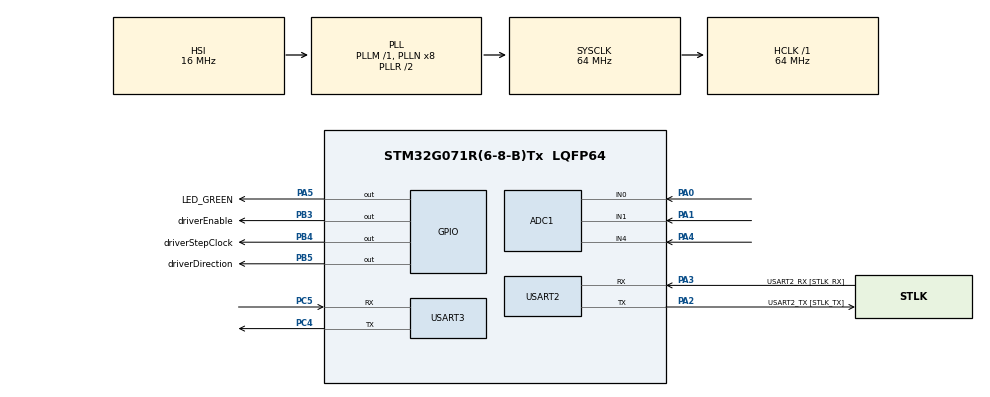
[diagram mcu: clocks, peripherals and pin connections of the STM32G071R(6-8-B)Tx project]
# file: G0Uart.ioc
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ADC1.Channel-0\#ChannelRegularConversion=ADC_CHANNEL_0
ADC1.Channel-1\#ChannelRegularConversion=ADC_CHANNEL_1
ADC1.Channel-2\#ChannelRegularConversion=ADC_CHANNEL_4
ADC1.ClockPrescaler=ADC_CLOCK_ASYNC_DIV1
ADC1.ContinuousConvMode=DISABLE
ADC1.DMAContinuousRequests=ENABLE
ADC1.EOCSelection=ADC_EOC_SEQ_CONV
ADC1.ExternalTrigConv=ADC_EXTERNALTRIG_T2_TRGO
ADC1.ExternalTrigConvEdge=ADC_EXTERNALTRIGCONVEDGE_RISINGFALLING
ADC1.NbrOfConversion=3
ADC1.NbrOfConversionFlag=1
ADC1.Rank-0\#ChannelRegularConversion=1
ADC1.Rank-1\#ChannelRegularConversion=2
ADC1.Rank-2\#ChannelRegularConversion=3
ADC1.SamplingTime-0\#ChannelRegularConversion=ADC_SAMPLINGTIME_COMMON_1
ADC1.SamplingTime-1\#ChannelRegularConversion=ADC_SAMPLINGTIME_COMMON_1
ADC1.SamplingTime-2\#ChannelRegularConversion=ADC_SAMPLINGTIME_COMMON_1
ADC1.SelectedChannel=ADC_CHANNEL_0|ADC_CHANNEL_1|ADC_CHANNEL_4
ADC1.master=1
Dma.ADC1.0.Direction=DMA_PERIPH_TO_MEMORY
Dma.ADC1.0.EventEnable=DISABLE
Dma.ADC1.0.Instance=DMA1_Channel1
Dma.ADC1.0.MemDataAlignment=DMA_MDATAALIGN_HALFWORD
Dma.ADC1.0.MemInc=DMA_MINC_ENABLE
Dma.ADC1.0.Mode=DMA_CIRCULAR
Dma.ADC1.0.PeriphDataAlignment=DMA_PDATAALIGN_HALFWORD
Dma.ADC1.0.PeriphInc=DMA_PINC_DISABLE
Dma.ADC1.0.Polarity=HAL_DMAMUX_REQ_GEN_RISING
Dma.ADC1.0.Priority=DMA_PRIORITY_LOW
Dma.ADC1.0.RequestNumber=1
Dma.ADC1.0.SignalID=NONE
Dma.ADC1.0.SyncEnable=ENABLE
Dma.ADC1.0.SyncPolarity=HAL_DMAMUX_SYNC_RISING
Dma.ADC1.0.SyncRequestNumber=1
Dma.ADC1.0.SyncSignalID=NONE
Dma.Request0=ADC1
Dma.Request1=USART3_RX
Dma.USART3_RX.1.Direction=DMA_PERIPH_TO_MEMORY
Dma.USART3_RX.1.EventEnable=DISABLE
Dma.USART3_RX.1.Instance=DMA1_Channel2
Dma.USART3_RX.1.MemDataAlignment=DMA_MDATAALIGN_BYTE
Dma.USART3_RX.1.MemInc=DMA_MINC_ENABLE
Dma.USART3_RX.1.Mode=DMA_NORMAL
Dma.USART3_RX.1.PeriphDataAlignment=DMA_PDATAALIGN_BYTE
Dma.USART3_RX.1.PeriphInc=DMA_PINC_DISABLE
Dma.USART3_RX.1.Polarity=HAL_DMAMUX_REQ_GEN_RISING
Dma.USART3_RX.1.Priority=DMA_PRIORITY_LOW
Dma.USART3_RX.1.RequestNumber=1
Dma.USART3_RX.1.SignalID=NONE
Dma.USART3_RX.1.SyncEnable=DISABLE
Dma.USART3_RX.1.SyncPolarity=HAL_DMAMUX_SYNC_NO_EVENT
Dma.USART3_RX.1.SyncRequestNumber=1
Dma.USART3_RX.1.SyncSignalID=NONE
Mcu.Family=STM32G0
Mcu.Name=STM32G071R(6-8-B)Tx
Mcu.Package=LQFP64
NVIC.ADC1_COMP_IRQn=true\:0\:0\:false\:false\:true\:true\:true\:true
NVIC.DMA1_Ch4_7_DMAMUX1_OVR_IRQn=true\:0\:0\:false\:false\:true\:false\:true\:true
NVIC.DMA1_Channel1_IRQn=true\:0\:0\:false\:false\:true\:false\:true\:true
NVIC.DMA1_Channel2_3_IRQn=true\:0\:0\:false\:false\:true\:false\:true\:true
NVIC.TIM1_BRK_UP_TRG_COM_IRQn=true\:0\:0\:false\:false\:true\:true\:true\:true
NVIC.TIM2_IRQn=true\:0\:0\:false\:false\:true\:true\:true\:true
NVIC.USART3_4_LPUART1_IRQn=true\:0\:0\:false\:false\:true\:true\:true\:true
PA0.Mode=IN0
PA0.Signal=ADC1_IN0
PA1.Mode=IN1
PA1.Signal=ADC1_IN1
PA13.GPIO_Label=TMS
PA13.Mode=Serial_Wire
PA13.Signal=SYS_SWDIO
PA14-BOOT0.GPIO_Label=TCK
PA14-BOOT0.Mode=Serial_Wire
PA14-BOOT0.Signal=SYS_SWCLK
PA2.GPIO_Label=USART2_TX [STLK_TX]
PA2.GPIO_PuPd=GPIO_PULLUP
PA2.Mode=Asynchronous
PA2.Signal=USART2_TX
PA3.GPIO_Label=USART2_RX [STLK_RX]
PA3.GPIO_PuPd=GPIO_PULLUP
PA3.Mode=Asynchronous
PA3.Signal=USART2_RX
PA4.Mode=IN4
PA4.Signal=ADC1_IN4
PA5.GPIO_Label=LED_GREEN
PA5.GPIO_Speed=GPIO_SPEED_FREQ_HIGH
PA5.Signal=GPIO_Output
PB3.GPIO_Label=driverEnable
PB3.Signal=GPIO_Output
PB4.GPIO_Label=driverStepClock
PB4.Signal=GPIO_Output
PB5.GPIO_Label=driverDirection
PB5.Signal=GPIO_Output
PC13.Mode=SYS_WakeUp1
PC13.Signal=SYS_WKUP2
PC14-OSC32_IN\ (PC14).Signal=RCC_OSC32_IN
PC15-OSC32_OUT\ (PC15).Signal=RCC_OSC32_OUT
PC4.Mode=Asynchronous
PC4.Signal=USART3_TX
PC5.Mode=Asynchronous
PC5.Signal=USART3_RX
PF0-OSC_IN\ (PF0).GPIO_Label=MCO
PF0-OSC_IN\ (PF0).Signal=RCC_OSC_IN
ProjectManager.HeapSize=0x200
ProjectManager.StackSize=0x400
ProjectManager.TargetToolchain=STM32CubeIDE
RCC.ADCFreq_Value=64000000
RCC.AHBFreq_Value=64000000
RCC.CortexFreq_Value=64000000
RCC.EXTERNAL_CLOCK_VALUE=12288000
RCC.HCLKFreq_Value=64000000
RCC.HSE_VALUE=8000000
RCC.HSI_VALUE=16000000
RCC.SYSCLKFreq_VALUE=64000000
RCC.SYSCLKSource=RCC_SYSCLKSOURCE_PLLCLK
RCC.VCOOutputFreq_Value=128000000
TIM1.Period=1000-1
TIM1.Prescaler=64-1
TIM2.Period=30-1
TIM2.Prescaler=64-1
TIM2.TIM_MasterOutputTrigger=TIM_TRGO_UPDATE
USART2.VirtualMode-Asynchronous=VM_ASYNC
USART3.VirtualMode-Asynchronous=VM_ASYNC
VP_TIM1_VS_ClockSourceINT.Mode=Internal
VP_TIM2_VS_ClockSourceINT.Mode=Internal
board=NUCLEO-G071RB

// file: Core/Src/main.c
/* USER CODE BEGIN Header */
/**
 ******************************************************************************
 * @file           : main.c
 * @brief          : Main program body
 ******************************************************************************
 * @attention
 *
 * Copyright (c) 2023 STMicroelectronics.
 * All rights reserved.
 *
 * This software is licensed under terms that can be found in the LICENSE file
 * in the root directory of this software component.
 * If no LICENSE file comes with this software, it is provided AS-IS.
 *
 ******************************************************************************
 */
/* USER CODE END Header */
#include "main.h"

/* USER CODE BEGIN Includes */
#include <string.h>
#include "stdbool.h"
/* USER CODE END Includes */

/* USER CODE BEGIN PD */
char RxBuf[10];
uint8_t tempBuf[10];
bool okflag = false;
char speed, test, turn;
uint16_t noTurns;
uint32_t combine;

// ADC Variable START
uint32_t avg = 0, adc_val, sum = 0;
int top_val[100];

#define Buflen 3
uint16_t dmaBuffer[Buflen];
// ADC Variable END

// Merge file START

volatile uint8_t timerCount = 0;
volatile bool timerFlag = false;
volatile uint16_t motorStepCount = 0;
volatile uint16_t motorRotateCount = 0;
volatile uint16_t noOfTurn = 10;
volatile uint16_t noSteptoGive = 8000;
uint16_t x = 0;
volatile uint32_t adcResult[3];
// Merge file END

uint16_t timBuffer[Buflen];

/* USER CODE END PD */

ADC_HandleTypeDef hadc1;
DMA_HandleTypeDef hdma_adc1;

TIM_HandleTypeDef htim1;
TIM_HandleTypeDef htim2;

UART_HandleTypeDef huart2;
UART_HandleTypeDef huart3;
DMA_HandleTypeDef hdma_usart3_rx;

void SystemClock_Config(void);
static void MX_GPIO_Init(void);
static void MX_DMA_Init(void);
static void MX_ADC1_Init(void);
static void MX_TIM2_Init(void);
static void MX_USART2_UART_Init(void);
static void MX_USART3_UART_Init(void);
static void MX_TIM1_Init(void);
/* USER CODE BEGIN PFP */
uint8_t count = 0;

/* USER CODE END PFP */

/* USER CODE BEGIN 0 */
void HAL_UART_RxCpltCallback(UART_HandleTypeDef *huart){
	UNUSED(huart);
	okflag = true;

}

void updateVal(int *top_val, int adc_val)
{
  for (uint8_t counter = 1; counter < 100; counter++)
  {
    top_val[counter - 1] = top_val[counter];
  }
  top_val[99] = adc_val;
}
int averageVal(int *top_val)
{
  sum = 0;
  for (int i = 0; i < 100; i++)
  {
    sum += top_val[i];
  }
  return sum / 100;
}

void HAL_ADC_ConvCpltCallback(ADC_HandleTypeDef *hadc)
{
  HAL_ADC_Start_DMA(&hadc1, (uint32_t *)dmaBuffer, Buflen);
}

/* USER CODE END 0 */

int main(void)
{

  /* MCU Configuration--------------------------------------------------------*/

  /* Reset of all peripherals, Initializes the Flash interface and the Systick. */
  HAL_Init();

  /* Configure the system clock */
  SystemClock_Config();

  /* Initialize all configured peripherals */
  MX_GPIO_Init();
  MX_DMA_Init();
  MX_ADC1_Init();
  MX_TIM2_Init();
  MX_USART2_UART_Init();
  MX_USART3_UART_Init();
  MX_TIM1_Init();
  /* USER CODE BEGIN 2 */

   HAL_UART_Receive_DMA(&huart3,(uint8_t* )RxBuf,10);

  // HAL_ADCEx_Calibration_Start(&hadc1);

  // HAL_TIM_Base_Start(&htim2);
  /* USER CODE END 2 */

  /* Infinite loop */
  /* USER CODE BEGIN WHILE */
  while (1){
    //	  adc_val = HAL_ADC_GetValue(&hadc1);
    //	      updateVal(top_val,adc_val);
    //	      avg = averageVal(top_val);

    /* USER CODE END WHILE */

    /* USER CODE BEGIN 3 */
    //	  count = 38;
    //	  HAL_UART_Transmit(&huart3, (uint8_t *)&count, 1, 10);
    //	  HAL_Delay(1000);
    if (okflag == true)
    {
      int i = 9;
      okflag = false;
      while (i--)
      {
        tempBuf[i] = RxBuf[i];
      }
      speed = RxBuf[0];
      test = RxBuf[2];
      turn = RxBuf[4];

      noTurns = 100 * (int)(RxBuf[6]-48) + 10 * (int)(RxBuf[7]-48) + (int)(RxBuf[8]-48);
      HAL_TIM_Base_Start_IT(&htim1);
      HAL_GPIO_WritePin(driverDirection_GPIO_Port, driverDirection_Pin, GPIO_PIN_SET);
      HAL_GPIO_WritePin(driverEnable_GPIO_Port, driverEnable_Pin, GPIO_PIN_SET);

      HAL_UART_Receive_DMA(&huart3, (uint8_t *)RxBuf, 10);
    }

    if (timerFlag)
    {
      timerFlag = false;
      timerCount += 1;
      switch (timerCount)
      {
      case 1:

        HAL_GPIO_WritePin(driverStepClock_GPIO_Port, driverStepClock_Pin, GPIO_PIN_SET);
        motorStepCount += 1;
        break;
      case 12:
        HAL_GPIO_WritePin(driverStepClock_GPIO_Port, driverStepClock_Pin, GPIO_PIN_RESET);
        if (motorStepCount == noSteptoGive)
        {
          motorStepCount = 0;
          HAL_GPIO_TogglePin(driverDirection_GPIO_Port, driverDirection_Pin);
        }
        // write logic for ADC Start and its timer (on ADCwithdma and timer for its trigger)

        // ADC Logic START
        HAL_TIM_Base_Start(&htim2);
          HAL_ADC_Start_DMA(&hadc1, (uint32_t *)dmaBuffer, Buflen);
        // ADC Logic END

        break;
      case 24:
        break;

        // write logic for ADC stop and its timer (on ADCwithdma and timer for its trigger)

        // ADC Logic Stop START
        HAL_TIM_Base_Stop(&htim2);
        HAL_ADC_Stop_DMA(&hadc1);
        // ADC Logic Stop END

        // transmit data from here

        // Data Transmit START

        // Data Transmit END

      case 36:
        timerCount = 0;
        if (motorRotateCount == 2 * noSteptoGive)
        {
          HAL_TIM_Base_Stop_IT(&htim1);
          HAL_GPIO_WritePin(driverEnable_GPIO_Port, driverEnable_Pin, GPIO_PIN_RESET);
        }
        break;
      }
    }
  }
  /* USER CODE END 3 */
}

void SystemClock_Config(void)
{
  RCC_OscInitTypeDef RCC_OscInitStruct = {0};
  RCC_ClkInitTypeDef RCC_ClkInitStruct = {0};

  /** Configure the main internal regulator output voltage
  */
  HAL_PWREx_ControlVoltageScaling(PWR_REGULATOR_VOLTAGE_SCALE1);

  /** Initializes the RCC Oscillators according to the specified parameters
  * in the RCC_OscInitTypeDef structure.
  */
  RCC_OscInitStruct.OscillatorType = RCC_OSCILLATORTYPE_HSI;
  RCC_OscInitStruct.HSIState = RCC_HSI_ON;
  RCC_OscInitStruct.HSIDiv = RCC_HSI_DIV1;
  RCC_OscInitStruct.HSICalibrationValue = RCC_HSICALIBRATION_DEFAULT;
  RCC_OscInitStruct.PLL.PLLState = RCC_PLL_ON;
  RCC_OscInitStruct.PLL.PLLSource = RCC_PLLSOURCE_HSI;
  RCC_OscInitStruct.PLL.PLLM = RCC_PLLM_DIV1;
  RCC_OscInitStruct.PLL.PLLN = 8;
  RCC_OscInitStruct.PLL.PLLP = RCC_PLLP_DIV2;
  RCC_OscInitStruct.PLL.PLLQ = RCC_PLLQ_DIV2;
  RCC_OscInitStruct.PLL.PLLR = RCC_PLLR_DIV2;
  if (HAL_RCC_OscConfig(&RCC_OscInitStruct) != HAL_OK)
  {
    Error_Handler();
  }

  /** Initializes the CPU, AHB and APB buses clocks
  */
  RCC_ClkInitStruct.ClockType = RCC_CLOCKTYPE_HCLK|RCC_CLOCKTYPE_SYSCLK
                              |RCC_CLOCKTYPE_PCLK1;
  RCC_ClkInitStruct.SYSCLKSource = RCC_SYSCLKSOURCE_PLLCLK;
  RCC_ClkInitStruct.AHBCLKDivider = RCC_SYSCLK_DIV1;
  RCC_ClkInitStruct.APB1CLKDivider = RCC_HCLK_DIV1;

  if (HAL_RCC_ClockConfig(&RCC_ClkInitStruct, FLASH_LATENCY_2) != HAL_OK)
  {
    Error_Handler();
  }
}

static void MX_ADC1_Init(void)
{

  ADC_ChannelConfTypeDef sConfig = {0};

  /** Configure the global features of the ADC (Clock, Resolution, Data Alignment and number of conversion)
  */
  hadc1.Instance = ADC1;
  hadc1.Init.ClockPrescaler = ADC_CLOCK_ASYNC_DIV1;
  hadc1.Init.Resolution = ADC_RESOLUTION_12B;
  hadc1.Init.DataAlign = ADC_DATAALIGN_RIGHT;
  hadc1.Init.ScanConvMode = ADC_SCAN_ENABLE;
  hadc1.Init.EOCSelection = ADC_EOC_SEQ_CONV;
  hadc1.Init.LowPowerAutoWait = DISABLE;
  hadc1.Init.LowPowerAutoPowerOff = DISABLE;
  hadc1.Init.ContinuousConvMode = DISABLE;
  hadc1.Init.NbrOfConversion = 3;
  hadc1.Init.DiscontinuousConvMode = DISABLE;
  hadc1.Init.ExternalTrigConv = ADC_EXTERNALTRIG_T2_TRGO;
  hadc1.Init.ExternalTrigConvEdge = ADC_EXTERNALTRIGCONVEDGE_RISINGFALLING;
  hadc1.Init.DMAContinuousRequests = ENABLE;
  hadc1.Init.Overrun = ADC_OVR_DATA_PRESERVED;
  hadc1.Init.SamplingTimeCommon1 = ADC_SAMPLETIME_1CYCLE_5;
  hadc1.Init.SamplingTimeCommon2 = ADC_SAMPLETIME_1CYCLE_5;
  hadc1.Init.OversamplingMode = DISABLE;
  hadc1.Init.TriggerFrequencyMode = ADC_TRIGGER_FREQ_HIGH;
  if (HAL_ADC_Init(&hadc1) != HAL_OK)
  {
    Error_Handler();
  }

  /** Configure Regular Channel
  */
  sConfig.Channel = ADC_CHANNEL_0;
  sConfig.Rank = ADC_REGULAR_RANK_1;
  sConfig.SamplingTime = ADC_SAMPLINGTIME_COMMON_1;
  if (HAL_ADC_ConfigChannel(&hadc1, &sConfig) != HAL_OK)
  {
    Error_Handler();
  }

  /** Configure Regular Channel
  */
  sConfig.Channel = ADC_CHANNEL_1;
  sConfig.Rank = ADC_REGULAR_RANK_2;
  if (HAL_ADC_ConfigChannel(&hadc1, &sConfig) != HAL_OK)
  {
    Error_Handler();
  }

  /** Configure Regular Channel
  */
  sConfig.Channel = ADC_CHANNEL_4;
  sConfig.Rank = ADC_REGULAR_RANK_3;
  if (HAL_ADC_ConfigChannel(&hadc1, &sConfig) != HAL_OK)
  {
    Error_Handler();
  }

}

static void MX_TIM1_Init(void)
{

  TIM_ClockConfigTypeDef sClockSourceConfig = {0};
  TIM_MasterConfigTypeDef sMasterConfig = {0};

  htim1.Instance = TIM1;
  htim1.Init.Prescaler = 64-1;
  htim1.Init.CounterMode = TIM_COUNTERMODE_UP;
  htim1.Init.Period = 1000-1;
  htim1.Init.ClockDivision = TIM_CLOCKDIVISION_DIV1;
  htim1.Init.RepetitionCounter = 0;
  htim1.Init.AutoReloadPreload = TIM_AUTORELOAD_PRELOAD_DISABLE;
  if (HAL_TIM_Base_Init(&htim1) != HAL_OK)
  {
    Error_Handler();
  }
  sClockSourceConfig.ClockSource = TIM_CLOCKSOURCE_INTERNAL;
  if (HAL_TIM_ConfigClockSource(&htim1, &sClockSourceConfig) != HAL_OK)
  {
    Error_Handler();
  }
  sMasterConfig.MasterOutputTrigger = TIM_TRGO_RESET;
  sMasterConfig.MasterOutputTrigger2 = TIM_TRGO2_RESET;
  sMasterConfig.MasterSlaveMode = TIM_MASTERSLAVEMODE_DISABLE;
  if (HAL_TIMEx_MasterConfigSynchronization(&htim1, &sMasterConfig) != HAL_OK)
  {
    Error_Handler();
  }

}

static void MX_TIM2_Init(void)
{

  TIM_ClockConfigTypeDef sClockSourceConfig = {0};
  TIM_MasterConfigTypeDef sMasterConfig = {0};

  htim2.Instance = TIM2;
  htim2.Init.Prescaler = 64-1;
  htim2.Init.CounterMode = TIM_COUNTERMODE_UP;
  htim2.Init.Period = 30-1;
  htim2.Init.ClockDivision = TIM_CLOCKDIVISION_DIV1;
  htim2.Init.AutoReloadPreload = TIM_AUTORELOAD_PRELOAD_DISABLE;
  if (HAL_TIM_Base_Init(&htim2) != HAL_OK)
  {
    Error_Handler();
  }
  sClockSourceConfig.ClockSource = TIM_CLOCKSOURCE_INTERNAL;
  if (HAL_TIM_ConfigClockSource(&htim2, &sClockSourceConfig) != HAL_OK)
  {
    Error_Handler();
  }
  sMasterConfig.MasterOutputTrigger = TIM_TRGO_UPDATE;
  sMasterConfig.MasterSlaveMode = TIM_MASTERSLAVEMODE_DISABLE;
  if (HAL_TIMEx_MasterConfigSynchronization(&htim2, &sMasterConfig) != HAL_OK)
  {
    Error_Handler();
  }

}

static void MX_USART2_UART_Init(void)
{

  huart2.Instance = USART2;
  huart2.Init.BaudRate = 115200;
  huart2.Init.WordLength = UART_WORDLENGTH_8B;
  huart2.Init.StopBits = UART_STOPBITS_1;
  huart2.Init.Parity = UART_PARITY_NONE;
  huart2.Init.Mode = UART_MODE_TX_RX;
  huart2.Init.HwFlowCtl = UART_HWCONTROL_NONE;
  huart2.Init.OverSampling = UART_OVERSAMPLING_16;
  huart2.Init.OneBitSampling = UART_ONE_BIT_SAMPLE_DISABLE;
  huart2.Init.ClockPrescaler = UART_PRESCALER_DIV1;
  huart2.AdvancedInit.AdvFeatureInit = UART_ADVFEATURE_NO_INIT;
  if (HAL_UART_Init(&huart2) != HAL_OK)
  {
    Error_Handler();
  }
  if (HAL_UARTEx_SetTxFifoThreshold(&huart2, UART_TXFIFO_THRESHOLD_1_8) != HAL_OK)
  {
    Error_Handler();
  }
  if (HAL_UARTEx_SetRxFifoThreshold(&huart2, UART_RXFIFO_THRESHOLD_1_8) != HAL_OK)
  {
    Error_Handler();
  }
  if (HAL_UARTEx_DisableFifoMode(&huart2) != HAL_OK)
  {
    Error_Handler();
  }

}

static void MX_USART3_UART_Init(void)
{

  huart3.Instance = USART3;
  huart3.Init.BaudRate = 115200;
  huart3.Init.WordLength = UART_WORDLENGTH_8B;
  huart3.Init.StopBits = UART_STOPBITS_1;
  huart3.Init.Parity = UART_PARITY_NONE;
  huart3.Init.Mode = UART_MODE_TX_RX;
  huart3.Init.HwFlowCtl = UART_HWCONTROL_NONE;
  huart3.Init.OverSampling = UART_OVERSAMPLING_16;
  huart3.Init.OneBitSampling = UART_ONE_BIT_SAMPLE_DISABLE;
  huart3.Init.ClockPrescaler = UART_PRESCALER_DIV1;
  huart3.AdvancedInit.AdvFeatureInit = UART_ADVFEATURE_NO_INIT;
  if (HAL_UART_Init(&huart3) != HAL_OK)
  {
    Error_Handler();
  }

}

static void MX_DMA_Init(void)
{

  /* DMA controller clock enable */
  __HAL_RCC_DMA1_CLK_ENABLE();

  /* DMA interrupt init */
  /* DMA1_Channel1_IRQn interrupt configuration */
  HAL_NVIC_SetPriority(DMA1_Channel1_IRQn, 0, 0);
  HAL_NVIC_EnableIRQ(DMA1_Channel1_IRQn);
  /* DMA1_Channel2_3_IRQn interrupt configuration */
  HAL_NVIC_SetPriority(DMA1_Channel2_3_IRQn, 0, 0);
  HAL_NVIC_EnableIRQ(DMA1_Channel2_3_IRQn);
  /* DMA1_Ch4_7_DMAMUX1_OVR_IRQn interrupt configuration */
  HAL_NVIC_SetPriority(DMA1_Ch4_7_DMAMUX1_OVR_IRQn, 0, 0);
  HAL_NVIC_EnableIRQ(DMA1_Ch4_7_DMAMUX1_OVR_IRQn);

}

static void MX_GPIO_Init(void)
{
  GPIO_InitTypeDef GPIO_InitStruct = {0};

  /* GPIO Ports Clock Enable */
  __HAL_RCC_GPIOC_CLK_ENABLE();
  __HAL_RCC_GPIOF_CLK_ENABLE();
  __HAL_RCC_GPIOA_CLK_ENABLE();
  __HAL_RCC_GPIOB_CLK_ENABLE();

  /*Configure GPIO pin Output Level */
  HAL_GPIO_WritePin(LED_GREEN_GPIO_Port, LED_GREEN_Pin, GPIO_PIN_RESET);

  /*Configure GPIO pin Output Level */
  HAL_GPIO_WritePin(GPIOB, driverEnable_Pin|driverStepClock_Pin|driverDirection_Pin, GPIO_PIN_RESET);

  /*Configure GPIO pin : LED_GREEN_Pin */
  GPIO_InitStruct.Pin = LED_GREEN_Pin;
  GPIO_InitStruct.Mode = GPIO_MODE_OUTPUT_PP;
  GPIO_InitStruct.Pull = GPIO_NOPULL;
  GPIO_InitStruct.Speed = GPIO_SPEED_FREQ_HIGH;
  HAL_GPIO_Init(LED_GREEN_GPIO_Port, &GPIO_InitStruct);

  /*Configure GPIO pins : driverEnable_Pin driverStepClock_Pin driverDirection_Pin */
  GPIO_InitStruct.Pin = driverEnable_Pin|driverStepClock_Pin|driverDirection_Pin;
  GPIO_InitStruct.Mode = GPIO_MODE_OUTPUT_PP;
  GPIO_InitStruct.Pull = GPIO_NOPULL;
  GPIO_InitStruct.Speed = GPIO_SPEED_FREQ_LOW;
  HAL_GPIO_Init(GPIOB, &GPIO_InitStruct);

}

void Error_Handler(void)
{
  __disable_irq();
  while (1)
  {
  }
}
